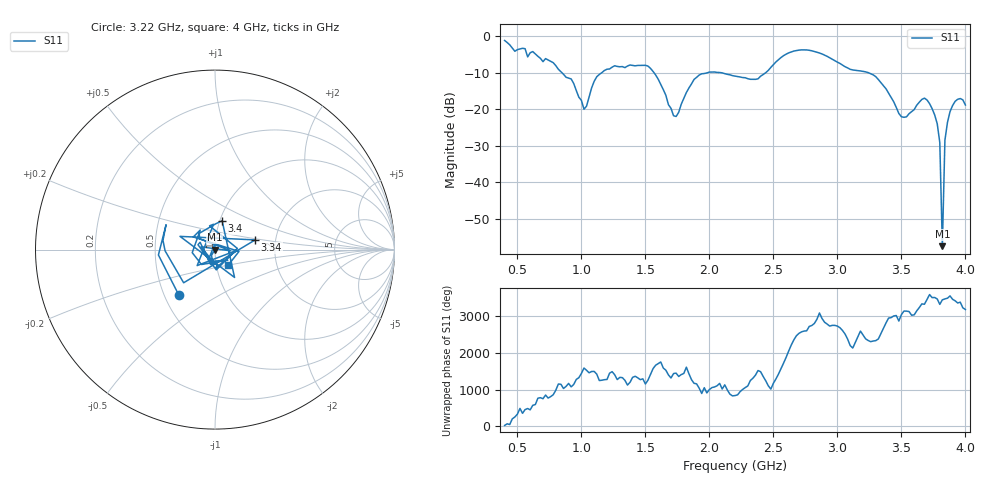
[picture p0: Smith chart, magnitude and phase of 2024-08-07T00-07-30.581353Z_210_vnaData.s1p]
!Created with skrf (http://scikit-rf.org).
# Hz S RI R 50.0
!freq ReS11 ImS11
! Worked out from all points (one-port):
!   181 points, 400 MHz to 4 GHz, reference 50 ohm
!   lowest |S11| = -57.5 dB at 3.82 GHz (marker M1), VSWR 1.00, Z = 49.9 - j0.0734 ohm
!   |S11| at or under -10 dB: 1.567 GHz to 1.987 GHz (420.8 MHz wide, 23.7 % of centre); 2.087 GHz to 2.441 GHz (354 MHz wide, 15.6 % of centre); 3.241 GHz to end of sweep (the widest 3 of 4)
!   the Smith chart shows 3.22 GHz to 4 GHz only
!   S11 on the Smith chart (normalised r, x): 3.22 GHz: 0.59, -0.34; 3.34 GHz: 1.56, +0.18; 3.4 GHz: 1.03, +0.34; 4 GHz: 1.14, -0.20
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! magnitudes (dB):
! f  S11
! 400 MHz  -1.2
! 860 MHz  -10.4
! 920 MHz  -11.7
! 1.02 GHz  -20.0
! 1.12 GHz  -11.1
! 1.3 GHz  -8.4
! 1.52 GHz  -8.2
! 1.6 GHz  -11.8
! 1.72 GHz  -21.8
! 1.76 GHz  -20.9
! 1.92 GHz  -10.7
! 2.2 GHz  -10.9
! 2.38 GHz  -11.7
! 2.66 GHz  -4.1
! 3.1 GHz  -9.1
! 3.22 GHz  -9.8
! 3.34 GHz  -12.8
! 3.4 GHz  -15.6
! 3.5 GHz  -22.1
! 3.56 GHz  -21.2
! 3.68 GHz  -17.0
! 3.78 GHz  -24.0
! 3.8 GHz  -29.1
! 3.82 GHz  -57.5
! 3.84 GHz  -28.5
! 3.86 GHz  -23.6
! 3.92 GHz  -17.9
! 4 GHz  -18.9
